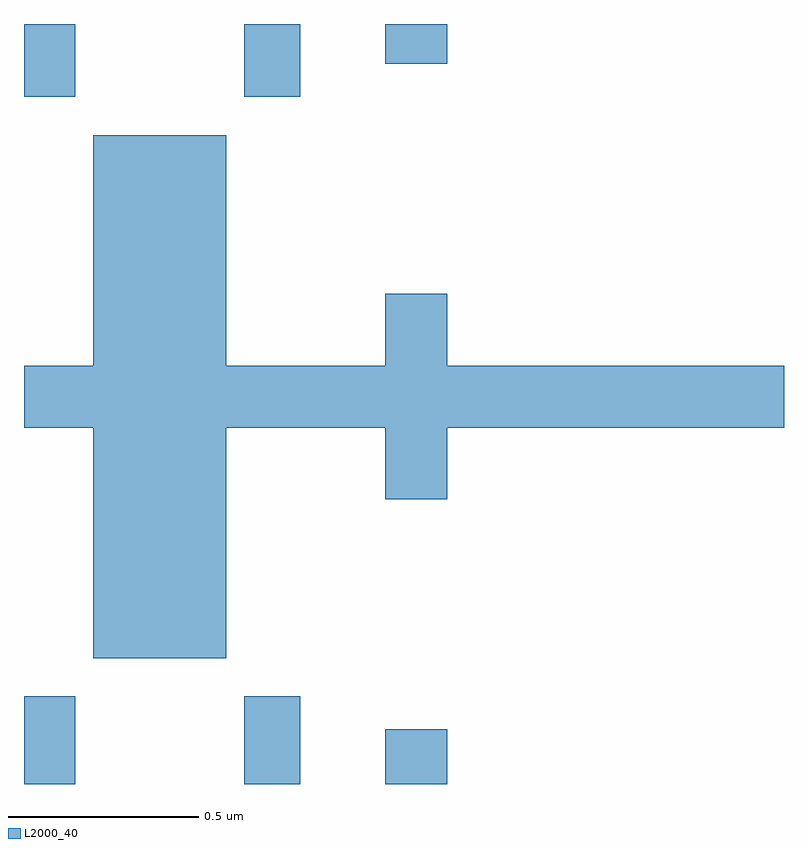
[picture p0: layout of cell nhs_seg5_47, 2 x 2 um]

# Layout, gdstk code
import gdstk
lib = gdstk.Library(unit=1e-6, precision=1e-09)
def R(c, l, rs):  # rectangles x0, y0, x1, y1
    for r in rs: c.add(gdstk.rectangle(r[:2], r[2:], *l))
def P(c, l, *ps):  # polygons
    for p in ps: c.add(gdstk.Polygon(p, *l))
L2000_40 = (2000, 40)

nhs_seg5_47 = lib.new_cell('nhs_seg5_47')
R(nhs_seg5_47, L2000_40, [(111,879.799,111.135,880.03), (111.58,879.799,111.727,880.03), (111.95,879.799,112.114,879.943), (111,881.607,111.135,881.799), (111.58,881.607,111.727,881.799), (111.95,881.694,112.114,881.799)])
P(nhs_seg5_47, L2000_40, [(111.532,880.736),(111.95,880.736),(111.95,880.548),(112.114,880.548),(112.114,880.736),(113,880.736),(113,880.9),(112.114,880.9),(112.114,881.089),(111.95,881.089),(111.95,880.9),(111.532,880.9),(111.532,881.506),(111.182,881.506),(111.182,880.9),(111,880.9),(111,880.736),(111.182,880.736),(111.182,880.13),(111.532,880.13)])

lib.write_gds('nhs_seg5_47.gds')
